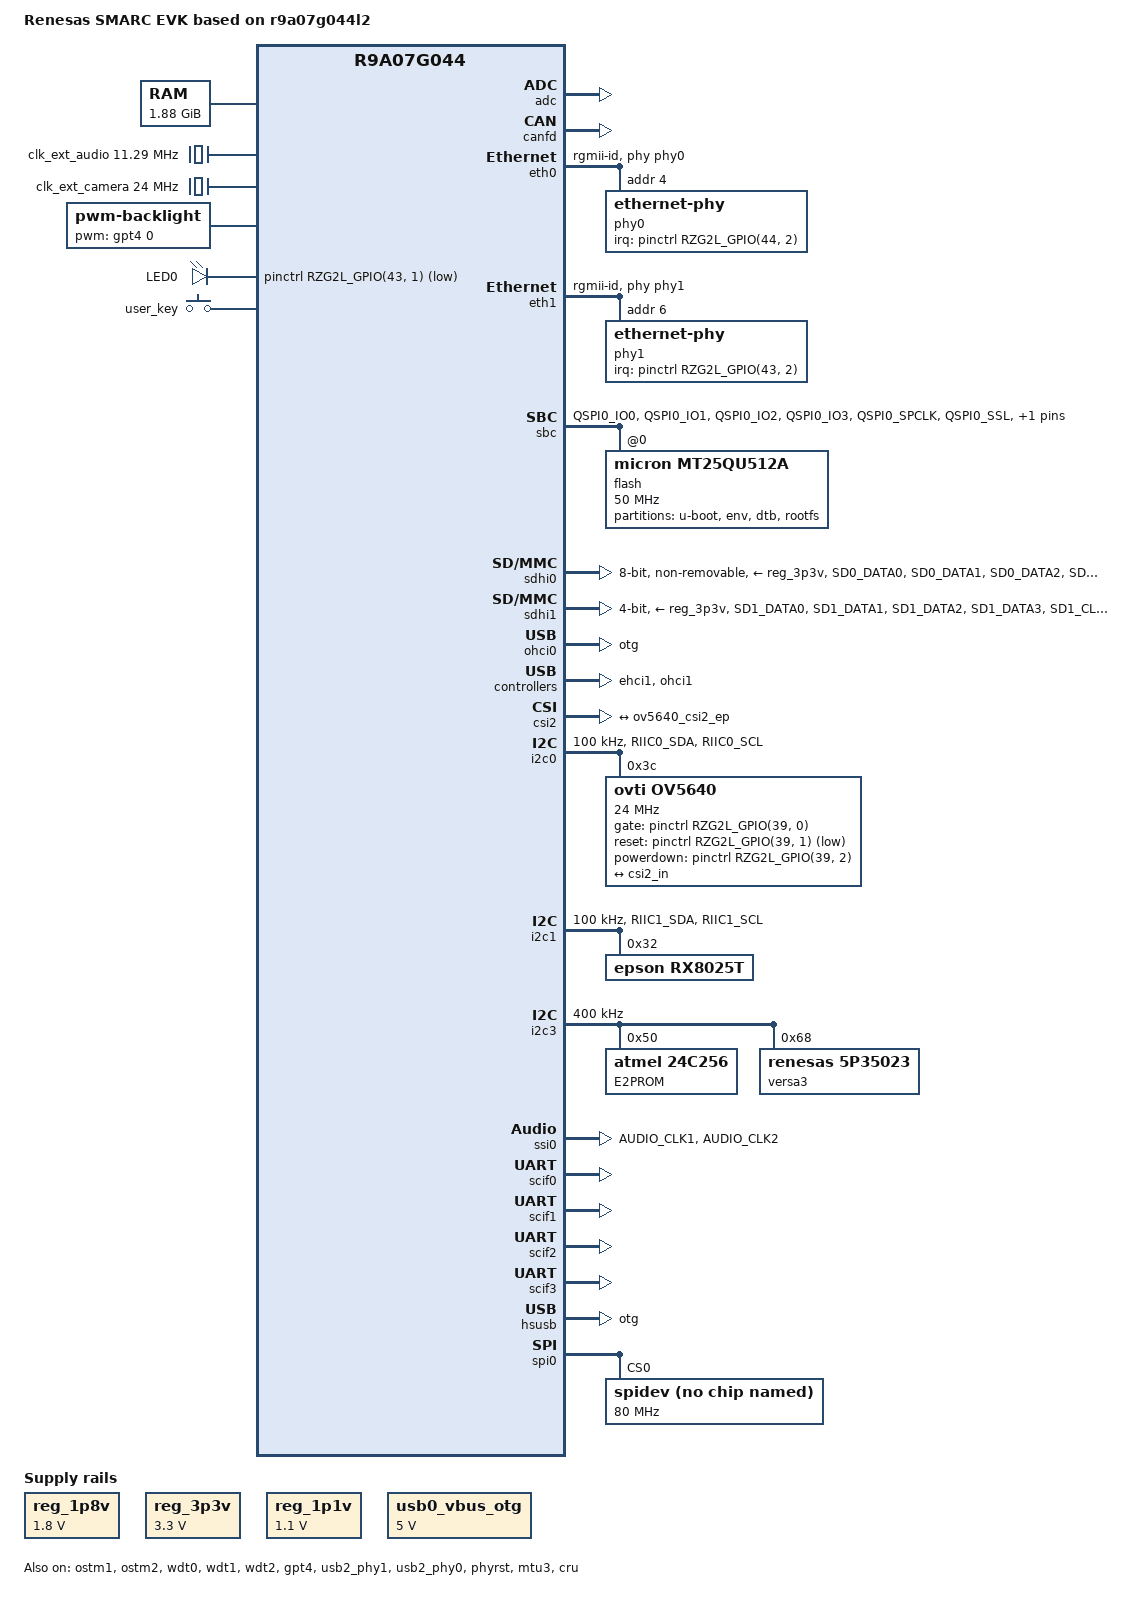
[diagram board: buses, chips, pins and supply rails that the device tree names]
// SPDX-License-Identifier: (GPL-2.0-only OR BSD-2-Clause)
/*
 * Device Tree Source for the RZ/{G2L,V2L} SMARC SOM common parts
 *
 * Copyright (C) 2022 MYiR Electronics Corp.
 */
#include "r9a07g044l2.dtsi"
#include <dt-bindings/gpio/gpio.h>
#include <dt-bindings/pinctrl/rzg2l-pinctrl.h>
#include <dt-bindings/input/input.h>

/ {
	model = "Renesas SMARC EVK based on r9a07g044l2";
	compatible = "renesas,smarc-evk", "renesas,r9a07g044l2", "renesas,r9a07g044";

	aliases {
		ethernet0 = &eth0;
		ethernet1 = &eth1;

		serial0 = &scif0;
		serial1 = &scif1;
		serial2 = &scif2;
		serial3 = &scif3;

		i2c0 = &i2c0;
		i2c1 = &i2c1;
		i2c3 = &i2c3;

		can0 = &canfd;
		can1 = &canfd;

		mmc0 = &sdhi0;
		mmc1 = &sdhi1;
	};

        chosen {
                bootargs = "ignore_loglevel";
                stdout-path = "serial0:115200n8";
        };

	memory@48000000 {
		device_type = "memory";
		/* first 128MB is reserved for secure area. */
		reg = <0x0 0x48000000 0x0 0x78000000>;
	};

	reserved-memory {
		#address-cells = <2>;
		#size-cells = <2>;
		ranges;

		global_cma: linux,cma@58000000 {
			compatible = "shared-dma-pool";
			linux,cma-default;
			reusable;
			reg = <0x0 0x58000000 0x0 0x10000000>;
		};
		mmp_reserved: linux,multimedia {
			compatible = "shared-dma-pool";
			reusable;
			reg = <0x00000000 0x68000000 0x0 0x8000000>;
		};
	};

	mmngr {
		compatible = "renesas,mmngr";
		memory-region = <&mmp_reserved>;
	};

	mmngrbuf {
		compatible = "renesas,mmngrbuf";
	};

	vspm_if {
		compatible = "renesas,vspm_if";
	};

	reg_1p8v: regulator0 {
		compatible = "regulator-fixed";
		regulator-name = "fixed-1.8V";
		regulator-min-microvolt = <1800000>;
		regulator-max-microvolt = <1800000>;
		regulator-boot-on;
		regulator-always-on;
	};

	reg_3p3v: regulator1 {
		compatible = "regulator-fixed";
		regulator-name = "fixed-3.3V";
		regulator-min-microvolt = <3300000>;
		regulator-max-microvolt = <3300000>;
		regulator-boot-on;
		regulator-always-on;
	};

	reg_1p1v: regulator-vdd-core {
		compatible = "regulator-fixed";
		regulator-name = "fixed-1.1V";
		regulator-min-microvolt = <1100000>;
		regulator-max-microvolt = <1100000>;
		regulator-boot-on;
		regulator-always-on;
	};

	usb0_vbus_otg: regulator-usb0-vbus-otg {
			compatible = "regulator-fixed";

			regulator-name = "USB0_VBUS_OTG";
			regulator-min-microvolt = <5000000>;
			regulator-max-microvolt = <5000000>;
	};

	x1_clk: x1-clock {
			compatible = "fixed-clock";
			#clock-cells = <0>;
			clock-frequency = <24000000>;
	};

	clk_ext_audio: clk_ext_audio {
		compatible = "fixed-clock";
		#clock-cells = <0>;
		clock-frequency = <11289600>;
	};

	clk_ext_camera: clk_ext_camera {
		compatible = "fixed-clock";
		#clock-cells = <0>;
		clock-frequency = <24000000>;
	};

        backlight {
                compatible = "pwm-backlight";
                pwms = <&gpt4 0 50000>;
                brightness-levels = <0 2 8 16 32 64 128 255>;
                default-brightness-level = <7>;
        };

	leds {
		compatible = "gpio-leds";

		led0 {
			gpios = <&pinctrl RZG2L_GPIO(43, 1) GPIO_ACTIVE_LOW>;
			label = "LED0";
			default-state = "on";
			linux,default-trigger = "heartbeat";
		};
	};

	keyboard {
		compatible = "gpio-keys";
		status = "okay";
		key-1 {
			interrupt-parent = <&pinctrl>;
			interrupts = <RZG2L_GPIO(1, 0) IRQ_TYPE_LEVEL_LOW>;
			linux,code = <KEY_1>;
			label = "user_key";
		};
	};

};

&adc {
	pinctrl-0 = <&adc_pins>;
	pinctrl-names = "default";
	status = "okay";
};

&canfd {
        pinctrl-0 = <&canfd1_pins>;
        pinctrl-names = "default";
        status = "okay";

        channel0 {
                status = "disabled";
        };

        channel1 {
                status = "okay";
        };
};

&eth0 {
	pinctrl-0 = <&eth0_pins>;
	pinctrl-names = "default";
	phy-handle = <&phy0>;
	phy-mode = "rgmii-id";
	status = "okay";

	phy0: ethernet-phy@4 {
		reg = <4>;
		rxc-skew-psec = <2400>;
		txc-skew-psec = <2400>;
		rxdv-skew-psec = <0>;
		txdv-skew-psec = <0>;
		rxd0-skew-psec = <0>;
		rxd1-skew-psec = <0>;
		rxd2-skew-psec = <0>;
		rxd3-skew-psec = <0>;
		txd0-skew-psec = <0>;
		txd1-skew-psec = <0>;
		txd2-skew-psec = <0>;
		txd3-skew-psec = <0>;

		interrupt-parent = <&pinctrl>;
		interrupts = <RZG2L_GPIO(44, 2) IRQ_TYPE_LEVEL_LOW>;
	};
};

&eth1 {
	pinctrl-0 = <&eth1_pins>;
	pinctrl-names = "default";
	phy-handle = <&phy1>;
	phy-mode = "rgmii-id";
	status = "okay";

	phy1: ethernet-phy@6 {
		reg = <6>;
		rxc-skew-psec = <2400>;
		txc-skew-psec = <2400>;
		rxdv-skew-psec = <0>;
		txdv-skew-psec = <0>;
		rxd0-skew-psec = <0>;
		rxd1-skew-psec = <0>;
		rxd2-skew-psec = <0>;
		rxd3-skew-psec = <0>;
		txd0-skew-psec = <0>;
		txd1-skew-psec = <0>;
		txd2-skew-psec = <0>;
		txd3-skew-psec = <0>;

		interrupt-parent = <&pinctrl>;
		interrupts = <RZG2L_GPIO(43, 2) IRQ_TYPE_LEVEL_LOW>;
	};
};

&extal_clk {
	clock-frequency = <24000000>;
};

&gpu {
	mali-supply = <&reg_1p1v>;
};

&ostm1 {
	status = "okay";
};

&ostm2 {
	status = "okay";
};

&pinctrl {

	i2c0_pins: i2c0 {
			pins = "RIIC0_SDA", "RIIC0_SCL";
			input-enable;
	};

	i2c1_pins: i2c1 {
			pins = "RIIC1_SDA", "RIIC1_SCL";
			input-enable;
	};

	i2c3_pins: i2c3 {
			pinmux = <RZG2L_PORT_PINMUX(18, 0, 3)>, /* SDA */
					<RZG2L_PORT_PINMUX(18, 1, 3)>; /* SCL */
	};

	adc_pins: adc {
			pinmux = <RZG2L_PORT_PINMUX(48, 4, 3)>; /* ADC_TRG */
	};

	canfd1_pins: can1 {
		pinmux = <RZG2L_PORT_PINMUX(44, 0, 3)>, /* TxD */
					<RZG2L_PORT_PINMUX(44, 1, 3)>; /* RxD */
	};

	spi0_pins: spi0 {
			pinmux = <RZG2L_PORT_PINMUX(47, 0, 5)>,
					 <RZG2L_PORT_PINMUX(47, 1, 5)>,
					 <RZG2L_PORT_PINMUX(47, 2, 5)>,
					 <RZG2L_PORT_PINMUX(47, 3, 5)>;
	};

	eth0_pins: eth0 {
		pinmux = <RZG2L_PORT_PINMUX(27, 1, 1)>, /* ET0_MDC */
			 <RZG2L_PORT_PINMUX(28, 0, 1)>, /* ET0_MDIO */
			 <RZG2L_PORT_PINMUX(20, 0, 1)>, /* ET0_TXC */
			 <RZG2L_PORT_PINMUX(20, 1, 1)>, /* ET0_TX_CTL */
			 <RZG2L_PORT_PINMUX(20, 2, 1)>, /* ET0_TXD0 */
			 <RZG2L_PORT_PINMUX(21, 0, 1)>, /* ET0_TXD1 */
			 <RZG2L_PORT_PINMUX(21, 1, 1)>, /* ET0_TXD2 */
			 <RZG2L_PORT_PINMUX(22, 0, 1)>, /* ET0_TXD3 */
			 <RZG2L_PORT_PINMUX(24, 0, 1)>, /* ET0_RXC */
			 <RZG2L_PORT_PINMUX(24, 1, 1)>, /* ET0_RX_CTL */
			 <RZG2L_PORT_PINMUX(25, 0, 1)>, /* ET0_RXD0 */
			 <RZG2L_PORT_PINMUX(25, 1, 1)>, /* ET0_RXD1 */
			 <RZG2L_PORT_PINMUX(26, 0, 1)>, /* ET0_RXD2 */
			 <RZG2L_PORT_PINMUX(26, 1, 1)>; /* ET0_RXD3 */
	};

	eth1_pins: eth1 {
		pinmux = <RZG2L_PORT_PINMUX(37, 0, 1)>, /* ET1_MDC */
			 <RZG2L_PORT_PINMUX(37, 1, 1)>, /* ET1_MDIO */
			 <RZG2L_PORT_PINMUX(29, 0, 1)>, /* ET1_TXC */
			 <RZG2L_PORT_PINMUX(29, 1, 1)>, /* ET1_TX_CTL */
			 <RZG2L_PORT_PINMUX(30, 0, 1)>, /* ET1_TXD0 */
			 <RZG2L_PORT_PINMUX(30, 1, 1)>, /* ET1_TXD1 */
			 <RZG2L_PORT_PINMUX(31, 0, 1)>, /* ET1_TXD2 */
			 <RZG2L_PORT_PINMUX(31, 1, 1)>, /* ET1_TXD3 */
			 <RZG2L_PORT_PINMUX(33, 1, 1)>, /* ET1_RXC */
			 <RZG2L_PORT_PINMUX(34, 0, 1)>, /* ET1_RX_CTL */
			 <RZG2L_PORT_PINMUX(34, 1, 1)>, /* ET1_RXD0 */
			 <RZG2L_PORT_PINMUX(35, 0, 1)>, /* ET1_RXD1 */
			 <RZG2L_PORT_PINMUX(35, 1, 1)>, /* ET1_RXD2 */
			 <RZG2L_PORT_PINMUX(36, 0, 1)>; /* ET1_RXD3 */
	};

	qspi0_pins: qspi0 {
		qspi0-data {
			pins = "QSPI0_IO0", "QSPI0_IO1", "QSPI0_IO2", "QSPI0_IO3";
			power-source = <1800>;
		};

		qspi0-ctrl {
			pins = "QSPI0_SPCLK", "QSPI0_SSL", "QSPI_RESET#";
			power-source = <1800>;
		};
	};

	sdhi0_emmc_pins: sd0emmc {
		sd0_emmc_data {
			pins = "SD0_DATA0", "SD0_DATA1", "SD0_DATA2", "SD0_DATA3",
                   "SD0_DATA4", "SD0_DATA5", "SD0_DATA6", "SD0_DATA7";
			power-source = <3300>;
		};

		sd0_emmc_ctrl {
			pins = "SD0_CLK", "SD0_CMD";
			power-source = <3300>;
		};

		sd0_emmc_rst {
			pins = "SD0_RST#";
			power-source = <3300>;
		};
	};

	sdhi1_pins: sd1 {
		sd1_data {
			pins = "SD1_DATA0", "SD1_DATA1", "SD1_DATA2", "SD1_DATA3";
			power-source  = <3300>;
		};

		sd1_ctrl {
			pins = "SD1_CLK", "SD1_CMD";
			power-source  = <3300>;
		};

		sd1_mux {
			groups = "sdhi1_cd_b";
			function = "sdhi1";
		};
	};

	sdhi1_pins_uhs: sd1_uhs {
		sd1_data_uhs {
			pins = "SD1_DATA0", "SD1_DATA1", "SD1_DATA2", "SD1_DATA3";
			power-source  = <1800>;
		};

		sd1_ctrl_uhs {
			pins = "SD1_CLK", "SD1_CMD";
			power-source  = <1800>;
		};

		sd1_mux_uhs {
			groups = "sdhi1_cd_b";
			function = "sdhi1";
		};
	};

	sound_clk_pins: sound_clk {
			pins = "AUDIO_CLK1", "AUDIO_CLK2";
			input-enable;
	};

	ssi0_pins: ssi0 {
			pinmux = <RZG2L_PORT_PINMUX(45, 0, 1)>, /* BCK */
						<RZG2L_PORT_PINMUX(45, 1, 1)>, /* RCK */
						<RZG2L_PORT_PINMUX(45, 2, 1)>, /* TXD */
						<RZG2L_PORT_PINMUX(45, 3, 1)>; /* RXD */
	};

	usb0_pins: usb0 {
			pinmux = <RZG2L_PORT_PINMUX(5, 0, 1)>,   /* OVC */
                      <RZG2L_PORT_PINMUX(5, 1, 1)>; /* OTG_ID */


	};

	usb1_pins: usb1 {
			pinmux = <RZG2L_PORT_PINMUX(42, 0, 1)>, /* VBUS */
						<RZG2L_PORT_PINMUX(42, 1, 1)>; /* OVC */
	};

	scif0_pins: scif0 {
			pinmux = <RZG2L_PORT_PINMUX(38, 0, 1)>, /* TxD */
						<RZG2L_PORT_PINMUX(38, 1, 1)>; /* RxD */
	};

	scif1_pins: scif1 {
			pinmux = <RZG2L_PORT_PINMUX(40, 0, 1)>, /* TxD */
						<RZG2L_PORT_PINMUX(40, 1, 1)>; /* RxD */
	};

	scif2_pins: scif2 {
			pinmux = <RZG2L_PORT_PINMUX(48, 0, 1)>, /* TxD */
						<RZG2L_PORT_PINMUX(48, 1, 1)>;/* RxD */
	};

	scif3_pins: scif3 {
			pinmux = <RZG2L_PORT_PINMUX(0, 0, 5)>, /* TxD */
						<RZG2L_PORT_PINMUX(0, 1, 5)>;/* RxD */
	};

        gpt4_pins: gpt4 {
                pinmux = <RZG2L_PORT_PINMUX(43, 0, 2)>; /* Channel A */
        };
};

&sbc {
	pinctrl-0 = <&qspi0_pins>;
	pinctrl-names = "default";
	status = "okay";

	flash@0 {
		compatible = "micron,mt25qu512a", "jedec,spi-nor";
		reg = <0>;
		m25p,fast-read;
		spi-max-frequency = <50000000>;
		spi-rx-bus-width = <4>;
		spi-tx-bus-width = <4>;

		partitions {
			compatible = "fixed-partitions";
			#address-cells = <1>;
			#size-cells = <1>;

			partition@0000000 {
				label = "u-boot";
				reg = <0x00000000 0x80000>;
				read-only;
			};
			partition@80000 {
				label = "env";
				reg = <0x00080000 0x40000>;
				read-only;
			};
			partition@C0000 {
				label = "dtb";
				reg = <0x000C0000 0x40000>;
				read-only;
			};
			partition@800000 {
				label = "rootfs";
				/* 16MB @ 8MB offset in SPI Flash */
				reg = <0x00800000 0x01000000>;
			};
//			partition@2000000 {
//				label = "test-area";
//				reg = <0x02000000 0x00100000>;
//			};
		};
	};
};

/*EMMC*/
&sdhi0 {
	pinctrl-0 = <&sdhi0_emmc_pins>;
	pinctrl-1 = <&sdhi0_emmc_pins>;
	pinctrl-names = "default", "state_uhs";

	vmmc-supply = <&reg_3p3v>;
	vqmmc-supply = <&reg_1p8v>;
	bus-width = <8>;
	mmc-hs200-1_8v;
	non-removable;
	fixed-emmc-driver-type = <1>;
	status = "okay";
};

/*sdcard*/
&sdhi1 {
	pinctrl-0 = <&sdhi1_pins>;
	pinctrl-1 = <&sdhi1_pins_uhs>;
	pinctrl-names = "default", "state_uhs";
	vmmc-supply = <&reg_3p3v>;
        vqmmc-supply = <&reg_3p3v>;
	cd-gpios = <&pinctrl RZG2L_GPIO(19, 0) GPIO_ACTIVE_LOW>;
	bus-width = <4>;
//	sd-uhs-sdr50;
//	sd-uhs-sdr104;
//	sd-uhs-ddr50;
	disable-wp;
	status = "okay";
};

&wdt0 {
	status = "okay";
	timeout-sec = <60>;
};

&wdt1 {
	status = "okay";
	timeout-sec = <60>;
};

&wdt2 {
	status = "okay";
	timeout-sec = <60>;
};

&poegd {
	status = "disabled";
};

&gpt4 {
        pinctrl-0 = <&gpt4_pins>;
	pinctrl-names = "default";
	channel = "channel_A";
	status = "okay";
};

&usb2_phy1 {
        pinctrl-0 = <&usb1_pins>;
        pinctrl-names = "default";

        status = "okay";
};

&usb2_phy0 {
        pinctrl-0 = <&usb0_pins>;
        pinctrl-names = "default";

        vbus-supply = <&usb0_vbus_otg>;
        status = "okay";
};

&ehci0 {
	memory-region = <&global_cma>;
};

&ohci0 {
	memory-region = <&global_cma>;
	dr_mode = "otg";
	status = "okay";
};

&ehci1 {
	memory-region = <&global_cma>;
	status = "okay";
};

&ohci1 {
	memory-region = <&global_cma>;
	status = "okay";
};


&csi2 {
	status = "okay";
	ports {
		port {
			csi2_in: endpoint {
				clock-lanes = <0>;
				data-lanes = <1 2>;
				remote-endpoint = <&ov5640_csi2_ep>;
			};
		};
	};
};

&i2c0 {
	pinctrl-0 = <&i2c0_pins>;
	pinctrl-names = "default";

	clock-frequency = <100000>;
	status = "okay";

	ov5640: camera@3c {
		compatible = "ovti,ov5640";
		reg = <0x3c>;
		status = "okay";

		clocks = <&clk_ext_camera>;
		clock-names = "xclk";
		clock-frequency = <24000000>;
		virtual-channel = /bits/ 8 <0>;

		gate-gpios =  <&pinctrl RZG2L_GPIO(39, 0) GPIO_ACTIVE_HIGH>;  // power
		reset-gpios  =  <&pinctrl RZG2L_GPIO(39, 1) GPIO_ACTIVE_LOW>;
		powerdown-gpios  =  <&pinctrl RZG2L_GPIO(39, 2) GPIO_ACTIVE_HIGH>;

		port {
			ov5640_csi2_ep: endpoint {
				clock-lanes = <0>;
				data-lanes = <1 2>;
				remote-endpoint = <&csi2_in>;
			};
		};

	};

};

&i2c1 {
	pinctrl-0 = <&i2c1_pins>;
	pinctrl-names = "default";
	clock-frequency = <100000>;
	status = "okay";

	rx8025t: rx8025t@32 {
		compatible = "epson,rx8025t";
		reg = <0x32>;
	};

};

&i2c3 {
	pinctrl-0 = <&i2c3_pins>;
	pinctrl-names = "default";
	clock-frequency = <400000>;
	status = "okay";

	E2PROM:24C256C@50 {
		compatible = "atmel,24c256";
		reg = <0x50>;
		pagesize = <64>;
	};

	versa3: versa3@68 {
		compatible = "renesas,5p35023";
		reg = <0x68>;
		#clock-cells = <1>;
		clocks = <&x1_clk>;
		clock-names = "x1";
		assigned-clocks = <&versa3 0>,
				<&versa3 1>,
				<&versa3 2>,
				<&versa3 3>,
				<&versa3 4>,
				<&versa3 5>;
		assigned-clock-rates =  <12288000>, <25000000>,
					<12000000>, <11289600>,
					<11289600>, <24000000>;
		clock-divider-read-only = <1>, <1>, <1>, <1>, <1>;
		clock-flags = <2176>, <2176>, <2176>, <2052>, <2176>, <2048>;
	};
};

&audio_clk1{
	clock-frequency = <11289600>;
};

&audio_clk2{
	clock-frequency = <12288000>;
};

&ssi0 {
	pinctrl-0 = <&ssi0_pins>;
	pinctrl-0 = <&ssi0_pins &sound_clk_pins>;
	pinctrl-names = "default";
	status = "okay";
};

/* console */
&scif0 {
	pinctrl-0 = <&scif0_pins>;
	pinctrl-names = "default";
	status = "okay";
};

/* RS485 */
&scif1 {
	pinctrl-0 = <&scif1_pins>;
	pinctrl-names = "default";
	status = "okay";
};

&scif2 {
        pinctrl-0 = <&scif2_pins>;
        pinctrl-names = "default";
        status = "okay";
};

/* RS232 */
&scif3 {
        pinctrl-0 = <&scif3_pins>;
        pinctrl-names = "default";
        status = "okay";
};

&hsusb {
        dr_mode = "otg";
        status = "okay";
};
&phyrst {
        status = "okay";
};

&mtu3 {
        status = "okay";
};

&cru {
	status = "okay";
};

&spi0 {
        pinctrl-0 = <&spi0_pins>;
        pinctrl-names = "default";
        status = "okay";
        spidev@0{
			#address-cellss=<1>;
			#size-cells=<1>;
			compatible = "rohm,dh2228fv";
			spi-max-frequency = <80000000>;
			reg = <0>;
       };
};
